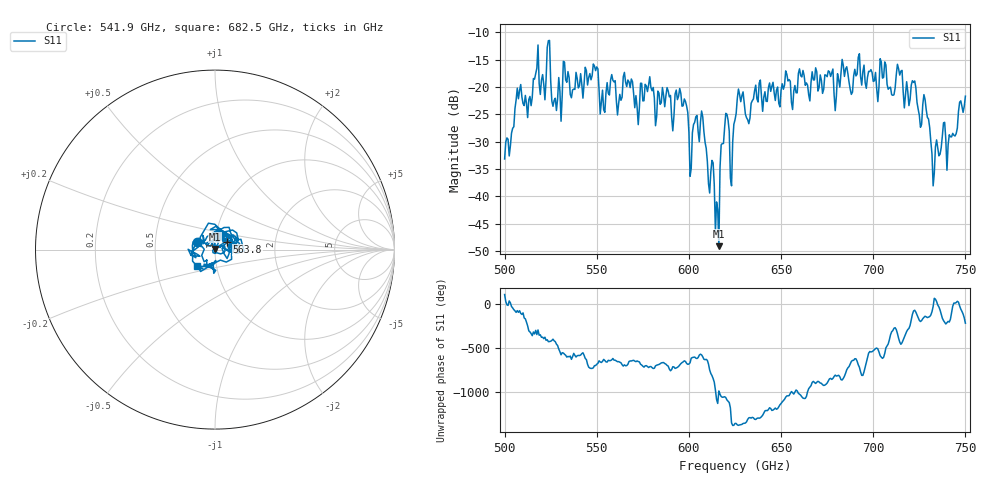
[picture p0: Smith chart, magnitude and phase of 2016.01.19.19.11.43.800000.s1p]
!Created with skrf (http://scikit-rf.org).
# GHz S RI R 50.0
!freq ReS11 ImS11
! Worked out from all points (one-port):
!   401 points, 500 GHz to 750 GHz, reference 50 ohm
!   lowest |S11| = -49.1 dB at 616.2 GHz (marker M1), VSWR 1.01, Z = 50 + j0.35 ohm
!   |S11| at or under -10 dB: start of sweep to end of sweep
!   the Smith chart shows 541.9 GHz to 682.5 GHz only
!   S11 on the Smith chart (normalised r, x): 541.9 GHz: 0.82, +0.07; 563.8 GHz: 1.14, +0.10; 682.5 GHz: 0.81, -0.15
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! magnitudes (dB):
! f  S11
! 500 GHz  -33.1
! 516.9 GHz  -17.6
! 531.2 GHz  -21.6
! 541.9 GHz  -19.5
! 549.4 GHz  -17.0
! 553.1 GHz  -20.6
! 558.8 GHz  -18.8
! 562.5 GHz  -21.3
! 563.8 GHz  -21.9
! 593.8 GHz  -22.3
! 601.2 GHz  -34.9
! 607.5 GHz  -25.4
! 615 GHz  -41.0
! 616.2 GHz  -49.1
! 619.4 GHz  -27.4
! 623.1 GHz  -38.1
! 625 GHz  -26.0
! 628.1 GHz  -22.7
! 631.9 GHz  -26.0
! 637.5 GHz  -22.7
! 656.2 GHz  -24.1
! 682.5 GHz  -17.4
! 687.5 GHz  -20.4
! 714.4 GHz  -17.8
! 718.8 GHz  -20.9
! 728.8 GHz  -24.2
! 732.5 GHz  -38.1
! 750 GHz  -21.7
